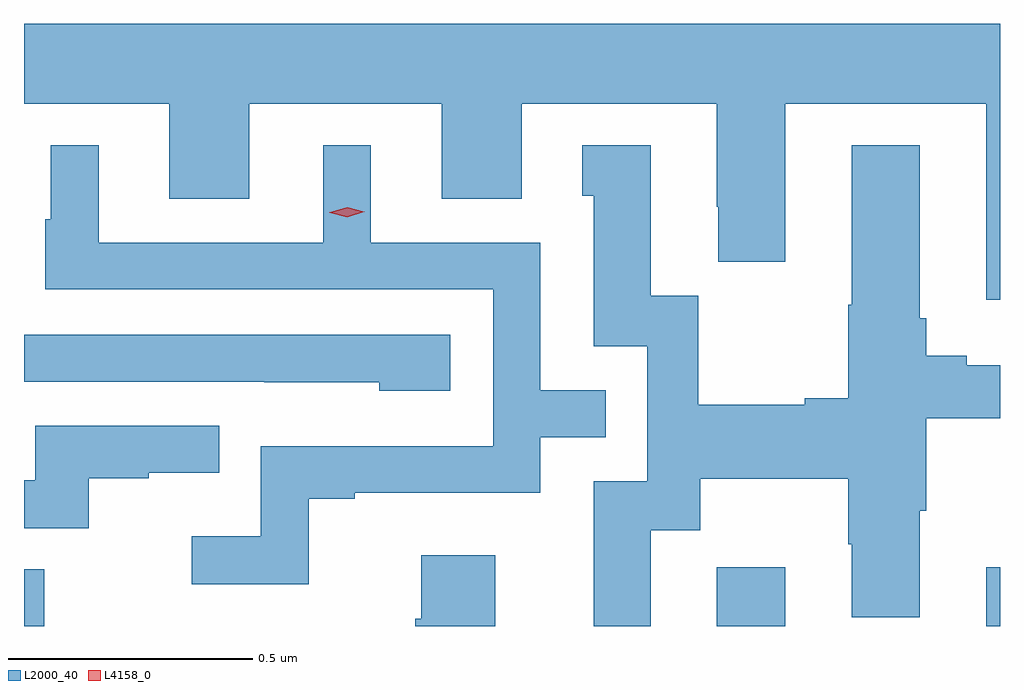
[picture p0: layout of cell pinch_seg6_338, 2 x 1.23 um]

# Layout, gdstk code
import gdstk
lib = gdstk.Library(unit=1e-6, precision=1e-09)
def R(c, l, rs):  # rectangles x0, y0, x1, y1
    for r in rs: c.add(gdstk.rectangle(r[:2], r[2:], *l))
def P(c, l, *ps):  # polygons
    for p in ps: c.add(gdstk.Polygon(p, *l))
L2000_40 = (2000, 40)
L4158_0 = (4158, 0)

pinch_seg6_338 = lib.new_cell('pinch_seg6_338')
R(pinch_seg6_338, L2000_40, [(695.935,963.582,695.977,963.698), (697.355,963.582,697.495,963.703), (697.907,963.582,697.935,963.703)])
P(pinch_seg6_338, L2000_40, [(697.935,964.816),(695.935,964.816),(695.935,964.652),(696.233,964.652),(696.233,964.458),(696.397,964.458),(696.397,964.652),(696.791,964.652),(696.791,964.458),(696.955,964.458),(696.955,964.652),(697.355,964.652),(697.355,964.441),(697.358,964.441),(697.358,964.329),(697.495,964.329),(697.495,964.652),(697.907,964.652),(697.907,964.251),(697.935,964.251)],
  [(696.519,963.843),(696.613,963.843),(696.613,963.855),(696.993,963.855),(696.993,963.969),(697.127,963.969),(697.127,964.065),(696.993,964.065),(696.993,964.368),(696.646,964.368),(696.646,964.567),(696.548,964.567),(696.548,964.368),(696.088,964.368),(696.088,964.567),(695.99,964.567),(695.99,964.416),(695.979,964.416),(695.979,964.272),(696.897,964.272),(696.897,963.951),(696.42,963.951),(696.42,963.766),(696.279,963.766),(696.279,963.668),(696.519,963.668)],
  [(697.219,963.778),(697.321,963.778),(697.321,963.884),(697.624,963.884),(697.624,963.75),(697.631,963.75),(697.631,963.6),(697.771,963.6),(697.771,963.818),(697.784,963.818),(697.784,964.008),(697.935,964.008),(697.935,964.117),(697.867,964.117),(697.867,964.136),(697.784,964.136),(697.784,964.213),(697.771,964.213),(697.771,964.567),(697.631,964.567),(697.631,964.241),(697.624,964.241),(697.624,964.049),(697.535,964.049),(697.535,964.036),(697.317,964.036),(697.317,964.259),(697.219,964.259),(697.219,964.567),(697.079,964.567),(697.079,964.464),(697.103,964.464),(697.103,964.155),(697.212,964.155),(697.212,963.879),(697.103,963.879),(697.103,963.582),(697.219,963.582)],
  [(696.808,964.179),(695.935,964.179),(695.935,964.083),(696.427,964.083),(696.427,964.082),(696.663,964.082),(696.663,964.064),(696.808,964.064)],
  [(696.068,963.885),(696.191,963.885),(696.191,963.896),(696.335,963.896),(696.335,963.993),(695.958,963.993),(695.958,963.881),(695.935,963.881),(695.935,963.783),(696.068,963.783)],
  [(696.901,963.727),(696.749,963.727),(696.749,963.597),(696.737,963.597),(696.737,963.582),(696.901,963.582)])
P(pinch_seg6_338, L4158_0, [(696.597,964.42),(696.562,964.429),(696.561,964.43),(696.562,964.43),(696.597,964.44),(696.632,964.431),(696.633,964.431),(696.632,964.431)])

lib.write_gds('pinch_seg6_338.gds')
